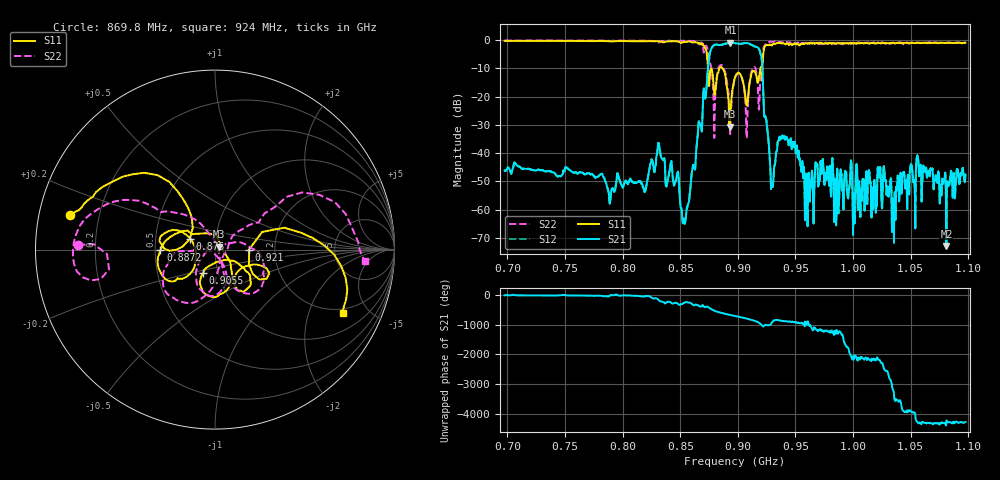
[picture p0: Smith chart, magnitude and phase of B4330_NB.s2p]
! Matrix data file written by TouchstoneData, EPCOS AG
! FILENAME: "ptable_B4330_PCB1_NB.s2p"
! COMMENT: "(B4330_PCB1_NB.s2p) Epcos AG 1/15/2014 2:45:"
! INFO: nport=2, nfreq=1601
! DATE: "Mon Jan 27 09:27:52 2014"
! USER: "Sergey Rostovtsev"
! port | pin | signal
!  1  |  1  |  input
!  2  |  4  |  output
# MHZ S RI R 50
! freq  reS11 imS11  reS21 imS21  reS12 imS12  reS22 imS22
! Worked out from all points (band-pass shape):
!   1601 points, 697.5 MHz to 1.097 GHz, reference 50 ohm
!   highest |S21| = -0.94 dB at 893.5 MHz (marker M1); lowest = -72.8 dB at 1.081 GHz (marker M2)
!   |S21| within 3 dB of the highest: 876.2 MHz to 919.1 MHz (42.94 MHz wide, 4.78 % of centre)
!   lowest |S11| = -30.6 dB at 892.8 MHz (marker M3), VSWR 1.06, Z = 52.5 + j1.75 ohm
!   |S11| at or under -10 dB: 874.1 MHz to 883.8 MHz (9.747 MHz wide, 1.11 % of centre); 886.7 MHz to 919.6 MHz (32.95 MHz wide, 3.65 % of centre); 920.1109 MHz to 921.3318 MHz (1.221 MHz wide, 0.133 % of centre)
!   |S22| runs from -34.7 to -0.2 dB; largest |S21 - S12| = 0.0029
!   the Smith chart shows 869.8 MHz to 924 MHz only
!   S11 on the Smith chart (normalised r, x): 869.8 MHz: 0.10, +0.12; 875 MHz: 0.75, +0.09; 887.2 MHz: 0.53, -0.01; 905.5 MHz: 0.85, -0.22; 921 MHz: 1.47, +0.00; 924 MHz: 1.78, -3.40
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697.5  -0.2224 -0.9378  0.00494 -0.00035  0.00495 -0.000339  0.0286 -0.9787
764.25  -0.3805 -0.8801  0.00439 -0.00107  0.00438 -0.00108  -0.135 -0.9656
819  -0.5606 -0.7657  0.00156 -0.0013  0.00157 -0.0013  -0.3588 -0.9059
831  -0.6393 -0.6999  -0.014 -0.00576  -0.014 -0.00576  -0.3677 -0.7992
853.5  -0.7731 -0.4988  -6.26e-05 0.000606  -6.36e-05 0.000574  -0.6445 -0.7203
869.75  -0.8062 0.1904  0.0844 0.0237  0.0843 0.0236  -0.7624 0.026
875  -0.1416 0.0577  0.2247 -0.4287  0.2244 -0.428  -0.4241 0.2722
880.5  -0.1098 -0.0648  -0.8237 -0.012  -0.8224 -0.0113  0.0155 -0.12
887.25  -0.3046 -0.00438  -0.2216 0.808  -0.2206 0.8065  -0.2912 -0.1573
892.75  0.0242 0.0167  0.4963 0.7356  0.4962 0.7349  -0.0428 -0.000377
893.5  0.0503 -0.0114  0.5906 0.6756  0.5904 0.6741  -0.00179 -0.0258
897.5  0.08 -0.2024  0.8504 0.2145  0.8496 0.2132  0.0537 -0.2038
905.5  -0.0658 -0.1296  0.566 -0.6728  0.5648 -0.6728  -0.096 -0.0906
915.5  0.1202 -0.2204  -0.7198 -0.2606  -0.7189 -0.2592  0.1743 -0.2447
921  0.1899 0.0002  0.2135 0.3126  0.2134 0.3123  0.3157 0.2256
924  0.7114 -0.3529  0.0115 0.0415  0.0115 0.0415  0.8333 -0.0633
929.75  0.4872 -0.6513  -0.00271 0.000845  -0.00276 0.000856  0.7226 -0.5967
940.25  0.1945 -0.839  -0.0188 -0.00752  -0.0188 -0.00745  0.4369 -0.8101
964.25  -0.00939 -0.8716  0.00365 -0.00328  0.00363 -0.00324  0.1688 -0.8681
1031  -0.2388 -0.8396  -0.00116 0.00143  -0.00118 0.00139  -0.0482 -0.8847
1081  -0.3195 -0.8263  7.7e-06 0.000228  -1.83e-06 0.000226  -0.1029 -0.8777
1097.5  -0.3389 -0.8286  0.00321 0.00268  0.0032 0.00268  -0.1278 -0.8904
